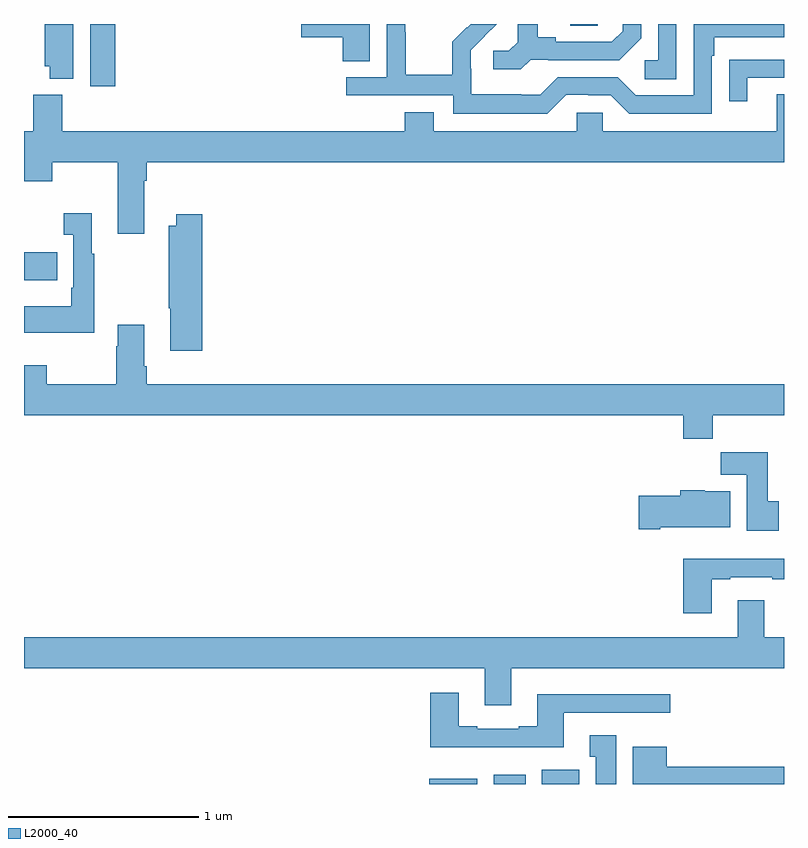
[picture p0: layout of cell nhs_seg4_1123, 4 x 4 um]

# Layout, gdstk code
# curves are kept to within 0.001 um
import gdstk
lib = gdstk.Library(unit=1e-6, precision=1e-09)
def R(c, l, rs):  # rectangles x0, y0, x1, y1
    for r in rs: c.add(gdstk.rectangle(r[:2], r[2:], *l))
def P(c, l, *ps):  # polygons
    for p in ps: c.add(gdstk.Polygon(p, *l))
L2000_40 = (2000, 40)

nhs_seg4_1123 = lib.new_cell('nhs_seg4_1123')
R(nhs_seg4_1123, L2000_40, [(171.134,774.9,171.385,774.928), (171.473,774.9,171.64,774.949), (171.725,774.9,171.922,774.976), (169,777.551,169.175,777.699), (169.349,778.572,169.481,778.9), (171.875,778.891,172.02,778.9)])
P(nhs_seg4_1123, L2000_40, [(171.855,778.527),(171.971,778.527),(171.971,778.524),(172.089,778.524),(172.185,778.428),(172.62,778.428),(172.62,778.733),(172.633,778.733),(172.633,778.83),(173,778.83),(173,778.9),(172.524,778.9),(172.524,778.524),(172.221,778.524),(172.125,778.62),(171.81,778.62),(171.717,778.527),(171.617,778.527),(171.617,778.531),(171.354,778.531),(171.354,778.665),(171.352,778.665),(171.352,778.762),(171.488,778.9),(171.352,778.9),(171.333,778.881),(171.33,778.884),(171.253,778.807),(171.253,778.633),(171.009,778.633),(171.009,778.856),(171.006,778.856),(171.006,778.9),(170.91,778.9),(170.91,778.62),(170.697,778.62),(170.697,778.524),(171.258,778.524),(171.258,778.427),(171.755,778.427)],
  [(171.666,778.713),(171.76,778.713),(171.76,778.71),(172.132,778.71),(172.248,778.826),(172.248,778.9),(172.151,778.9),(172.151,778.863),(172.094,778.806),(171.799,778.806),(171.799,778.829),(171.703,778.829),(171.703,778.9),(171.599,778.9),(171.599,778.805),(171.552,778.758),(171.471,778.758),(171.471,778.661),(171.614,778.661)],
  [(170.821,778.9),(170.46,778.9),(170.46,778.829),(170.678,778.829),(170.678,778.705),(170.821,778.705)],
  [(169.258,778.9),(169.109,778.9),(169.109,778.677),(169.136,778.677),(169.136,778.613),(169.258,778.613)],
  [(172.434,778.9),(172.338,778.9),(172.338,778.71),(172.266,778.71),(172.266,778.609),(172.434,778.609)],
  [(172.807,778.617),(173,778.617),(173,778.713),(172.813,778.713),(172.813,778.712),(172.711,778.712),(172.711,778.494),(172.807,778.494)],
  [(169.633,778.076),(169.646,778.076),(169.646,778.172),(173,778.172),(173,778.531),(172.961,778.531),(172.961,778.336),(172.047,778.336),(172.047,778.434),(171.909,778.434),(171.909,778.336),(171.157,778.336),(171.157,778.435),(171.005,778.435),(171.005,778.336),(169.202,778.336),(169.202,778.528),(169.049,778.528),(169.049,778.336),(169,778.336),(169,778.172),(169.001,778.172),(169.001,778.073),(169.149,778.073),(169.149,778.172),(169.493,778.172),(169.493,777.795),(169.633,777.795)],
  [(169.369,777.691),(169.357,777.691),(169.357,777.904),(169.209,777.904),(169.209,777.791),(169.26,777.791),(169.26,777.511),(169.248,777.511),(169.248,777.415),(169,777.415),(169,777.275),(169.369,777.275)],
  [(169.937,777.898),(169.802,777.898),(169.802,777.838),(169.762,777.838),(169.762,777.403),(169.769,777.403),(169.769,777.18),(169.937,777.18)],
  [(172.625,776.84),(173,776.84),(173,777.004),(169.646,777.004),(169.646,777.1),(169.633,777.1),(169.633,777.316),(169.493,777.316),(169.493,777.203),(169.486,777.203),(169.486,777.004),(169.119,777.004),(169.119,777.103),(169,777.103),(169,776.84),(172.469,776.84),(172.469,776.716),(172.625,776.716)],
  [(172.972,776.388),(172.915,776.388),(172.915,776.647),(172.666,776.647),(172.666,776.528),(172.805,776.528),(172.805,776.232),(172.972,776.232)],
  [(172.348,776.252),(172.717,776.252),(172.717,776.44),(172.584,776.44),(172.584,776.446),(172.454,776.446),(172.454,776.418),(172.236,776.418),(172.236,776.24),(172.348,776.24)],
  [(172.621,775.977),(172.717,775.977),(172.717,775.989),(172.937,775.989),(172.937,775.977),(173,775.977),(173,776.086),(172.469,776.086),(172.469,775.8),(172.621,775.8)],
  [(171.565,775.508),(173,775.508),(173,775.672),(172.897,775.672),(172.897,775.867),(172.757,775.867),(172.757,775.672),(169,775.672),(169,775.508),(171.425,775.508),(171.425,775.314),(171.565,775.314)],
  [(171.841,775.275),(172.402,775.275),(172.402,775.372),(171.701,775.372),(171.701,775.204),(171.605,775.204),(171.605,775.191),(171.385,775.191),(171.385,775.204),(171.289,775.204),(171.289,775.381),(171.137,775.381),(171.137,775.094),(171.841,775.094)],
  [(172.117,775.156),(171.977,775.156),(171.977,775.043),(172.01,775.043),(172.01,774.9),(172.117,774.9)],
  [(173,774.992),(172.384,774.992),(172.384,775.096),(172.205,775.096),(172.205,774.9),(173,774.9)])

lib.write_gds('nhs_seg4_1123.gds')
